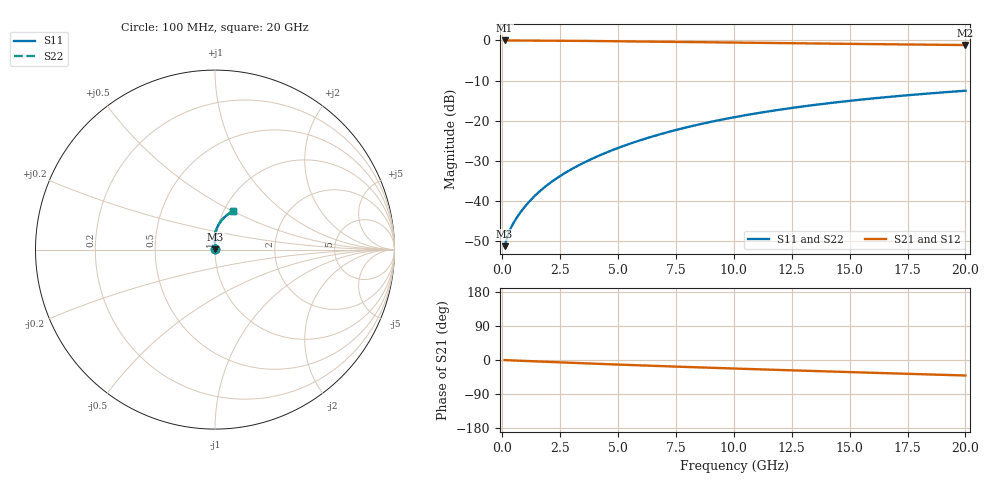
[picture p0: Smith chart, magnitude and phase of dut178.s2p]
! Touchstone file exported from HFSS 2024.1.0
!  File:  C:/UserFiles/LocalFiles/RDL_TSV_Batchsim/temp_RDL_top_178_1778686107.aedt
!  Generated:  11:30:33 PM May 13, 2026
!  Design:  RDL_top
!  Project:  temp_RDL_top_178_1778686107
!  Setup:  Setup1
!  Solution:  Sweep
! Variables:
!  dtsv = 10.80580581um
!  hbump = 3um
!  htsv = 99.91um
!  ldown = 100um
!  lrdl = 689.02um
!  p = 40
!  p1 = 40.46um
!  rhole = 1um
!  t = 450um
!  tdown = 3.915915916um
!  trdl = 4.07um
!  wdown = 15.38538539um
!  wrdl = 26.97um
# GHz S MA R 50.000000
! Terminal data exported
! Port[1] = Box2_T1
! Port[2] = Box2_T2
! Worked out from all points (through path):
!   200 points, 100 MHz to 20 GHz, reference 50 ohm
!   highest |S21| = -0.02 dB at 100 MHz (marker M1); lowest = -1.2 dB at 20 GHz (marker M2)
!   group delay of S21, straight-line fit = 5.6 ps
!   lowest |S11| = -51.3 dB at 100 MHz (marker M3), VSWR 1.01, Z = 50.2 + j0.114 ohm
!   |S11| at or under -10 dB: start of sweep to end of sweep
!   |S22| runs from -51.3 to -12.5 dB; largest |S21 - S12| = 3.3e-15
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0.1  0.002736 24.5  0.9975 -0.3  0.9975 -0.3  0.002736 24.5
! Gamma 0 0 0 0
! Port Impedance 50 0 50 0
0.2  0.003448 37.6  0.9972 -0.5  0.9972 -0.5  0.003448 37.6
0.3  0.004149 44.7  0.9969 -0.8  0.9969 -0.8  0.004149 44.7
0.4  0.004795 49.8  0.9967 -1.0  0.9967 -1.0  0.004795 49.8
0.5  0.005416 54.1  0.9965 -1.3  0.9965 -1.3  0.005417 54.1
0.8  0.00732 64.0  0.9959 -2.0  0.9959 -2.0  0.00732 64.0
1.2  0.01008 72.7  0.995 -3.0  0.995 -3.0  0.01008 72.7
1.7  0.01384 79.5  0.9935 -4.3  0.9935 -4.3  0.01384 79.5
2.2  0.0179 83.9  0.9916 -5.5  0.9916 -5.5  0.0179 83.8
2.8  0.02314 87.4  0.9888 -7.0  0.9888 -7.0  0.02314 87.3
3.5  0.02977 90.0  0.9849 -8.6  0.9849 -8.6  0.02976 89.9
4.2  0.03693 91.5  0.9805 -10.3  0.9805 -10.3  0.03692 91.5
5  0.04573 92.3  0.975 -12.1  0.975 -12.1  0.04572 92.3
5.9  0.05634 92.4  0.9685 -14.1  0.9685 -14.1  0.05631 92.3
6.8  0.06754 91.7  0.9618 -16.0  0.9618 -16.0  0.06751 91.7
8.4  0.08848 89.6  0.9498 -19.3  0.9498 -19.3  0.08844 89.6
10.1  0.1115 86.4  0.9374 -22.7  0.9374 -22.7  0.1114 86.4
11.7  0.1332 83.0  0.9262 -25.8  0.9262 -25.8  0.1331 83.0
13.4  0.1559 79.3  0.9148 -29.0  0.9148 -29.0  0.1559 79.2
15  0.1767 75.7  0.9045 -31.9  0.9045 -31.9  0.1766 75.7
16.7  0.1978 71.9  0.8939 -35.0  0.8939 -35.0  0.1977 71.9
20  0.2359 64.9  0.8745 -40.9  0.8745 -40.9  0.2358 64.9
